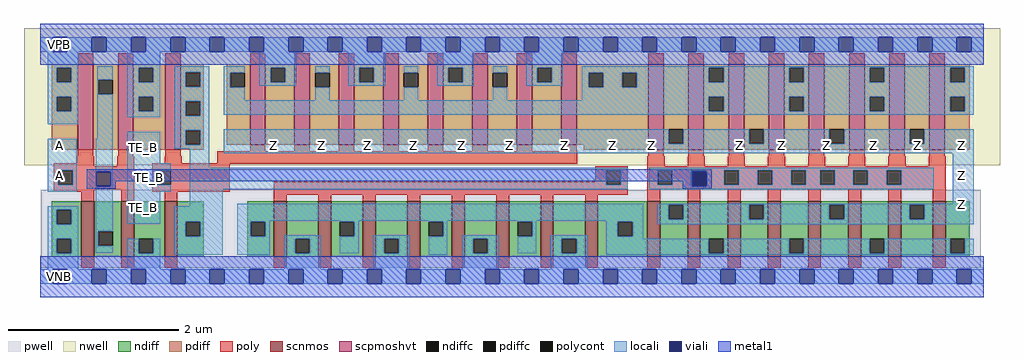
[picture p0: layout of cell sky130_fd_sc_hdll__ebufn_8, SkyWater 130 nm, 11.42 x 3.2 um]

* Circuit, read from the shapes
.subckt sky130_fd_sc_hdll__ebufn_8 A TE_B VGND VNB VPB VPWR Z
XM1 n1 A VGND VNB sky130_fd_pr__nfet_01v8 w=0.65 l=0.15 m=2
XM2 n2 TE_B VGND VNB sky130_fd_pr__nfet_01v8 w=0.65 l=0.15
XM3 VGND n2 n3 VNB sky130_fd_pr__nfet_01v8 w=0.65 l=0.15 m=8
XM4 Z n1 n3 VNB sky130_fd_pr__nfet_01v8 w=0.65 l=0.15 m=8
XM5 n1 A VPWR VPB sky130_fd_pr__pfet_01v8_hvt w=1 l=0.18 m=2
XM6 n2 TE_B VPWR VPB sky130_fd_pr__pfet_01v8_hvt w=1 l=0.18
XM7 VPWR TE_B n4 VPB sky130_fd_pr__pfet_01v8_hvt w=0.94 l=0.18 m=8
XM8 Z n1 n4 VPB sky130_fd_pr__pfet_01v8_hvt w=1 l=0.18 m=8
.ends

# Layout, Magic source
magic
tech sky130A
magscale 1 2
<< nwell >>
rect -38 261 2246 582
<< pwell >>
rect 1 21 2201 203
rect 29 -17 63 21
<< scnmos >>
rect 96 47 126 177
rect 190 47 220 177
rect 291 47 321 177
rect 547 47 577 177
rect 651 47 681 177
rect 755 47 785 177
rect 859 47 889 177
rect 963 47 993 177
rect 1067 47 1097 177
rect 1171 47 1201 177
rect 1275 47 1305 177
rect 1421 47 1451 177
rect 1515 47 1545 177
rect 1609 47 1639 177
rect 1703 47 1733 177
rect 1797 47 1827 177
rect 1891 47 1921 177
rect 1985 47 2015 177
rect 2089 47 2119 177
<< scpmoshvt >>
rect 88 297 124 497
rect 182 297 218 497
rect 293 297 329 497
rect 491 309 527 497
rect 595 309 631 497
rect 699 309 735 497
rect 803 309 839 497
rect 907 309 943 497
rect 1011 309 1047 497
rect 1115 309 1151 497
rect 1219 309 1255 497
rect 1423 297 1459 497
rect 1517 297 1553 497
rect 1611 297 1647 497
rect 1705 297 1741 497
rect 1799 297 1835 497
rect 1893 297 1929 497
rect 1987 297 2023 497
rect 2081 297 2117 497
<< ndiff >>
rect 27 157 96 177
rect 27 123 39 157
rect 73 123 96 157
rect 27 89 96 123
rect 27 55 39 89
rect 73 55 96 89
rect 27 47 96 55
rect 126 106 190 177
rect 126 72 136 106
rect 170 72 190 106
rect 126 47 190 72
rect 220 89 291 177
rect 220 55 230 89
rect 264 55 291 89
rect 220 47 291 55
rect 321 129 383 177
rect 321 95 341 129
rect 375 95 383 129
rect 321 47 383 95
rect 485 129 547 177
rect 485 95 493 129
rect 527 95 547 129
rect 485 47 547 95
rect 577 89 651 177
rect 577 55 597 89
rect 631 55 651 89
rect 577 47 651 55
rect 681 129 755 177
rect 681 95 701 129
rect 735 95 755 129
rect 681 47 755 95
rect 785 89 859 177
rect 785 55 805 89
rect 839 55 859 89
rect 785 47 859 55
rect 889 129 963 177
rect 889 95 909 129
rect 943 95 963 129
rect 889 47 963 95
rect 993 89 1067 177
rect 993 55 1013 89
rect 1047 55 1067 89
rect 993 47 1067 55
rect 1097 129 1171 177
rect 1097 95 1117 129
rect 1151 95 1171 129
rect 1097 47 1171 95
rect 1201 89 1275 177
rect 1201 55 1221 89
rect 1255 55 1275 89
rect 1201 47 1275 55
rect 1305 129 1421 177
rect 1305 95 1352 129
rect 1386 95 1421 129
rect 1305 47 1421 95
rect 1451 169 1515 177
rect 1451 135 1471 169
rect 1505 135 1515 169
rect 1451 47 1515 135
rect 1545 89 1609 177
rect 1545 55 1565 89
rect 1599 55 1609 89
rect 1545 47 1609 55
rect 1639 169 1703 177
rect 1639 135 1659 169
rect 1693 135 1703 169
rect 1639 47 1703 135
rect 1733 89 1797 177
rect 1733 55 1753 89
rect 1787 55 1797 89
rect 1733 47 1797 55
rect 1827 169 1891 177
rect 1827 135 1847 169
rect 1881 135 1891 169
rect 1827 47 1891 135
rect 1921 89 1985 177
rect 1921 55 1941 89
rect 1975 55 1985 89
rect 1921 47 1985 55
rect 2015 169 2089 177
rect 2015 135 2035 169
rect 2069 135 2089 169
rect 2015 47 2089 135
rect 2119 89 2175 177
rect 2119 55 2129 89
rect 2163 55 2175 89
rect 2119 47 2175 55
<< pdiff >>
rect 27 489 88 497
rect 27 455 39 489
rect 73 455 88 489
rect 27 421 88 455
rect 27 387 39 421
rect 73 387 88 421
rect 27 297 88 387
rect 124 461 182 497
rect 124 427 136 461
rect 170 427 182 461
rect 124 297 182 427
rect 218 489 293 497
rect 218 455 230 489
rect 264 455 293 489
rect 218 421 293 455
rect 218 387 230 421
rect 264 387 293 421
rect 218 297 293 387
rect 329 479 383 497
rect 329 445 341 479
rect 375 445 383 479
rect 329 411 383 445
rect 329 377 341 411
rect 375 377 383 411
rect 329 343 383 377
rect 329 309 341 343
rect 375 309 383 343
rect 437 477 491 497
rect 437 443 445 477
rect 479 443 491 477
rect 437 309 491 443
rect 527 489 595 497
rect 527 455 539 489
rect 573 455 595 489
rect 527 309 595 455
rect 631 477 699 497
rect 631 443 643 477
rect 677 443 699 477
rect 631 309 699 443
rect 735 489 803 497
rect 735 455 747 489
rect 781 455 803 489
rect 735 309 803 455
rect 839 477 907 497
rect 839 443 851 477
rect 885 443 907 477
rect 839 309 907 443
rect 943 489 1011 497
rect 943 455 955 489
rect 989 455 1011 489
rect 943 309 1011 455
rect 1047 477 1115 497
rect 1047 443 1059 477
rect 1093 443 1115 477
rect 1047 309 1115 443
rect 1151 489 1219 497
rect 1151 455 1163 489
rect 1197 455 1219 489
rect 1151 309 1219 455
rect 1255 477 1423 497
rect 1255 443 1284 477
rect 1318 443 1362 477
rect 1396 443 1423 477
rect 1255 309 1423 443
rect 329 297 383 309
rect 1272 297 1423 309
rect 1459 345 1517 497
rect 1459 311 1471 345
rect 1505 311 1517 345
rect 1459 297 1517 311
rect 1553 489 1611 497
rect 1553 455 1565 489
rect 1599 455 1611 489
rect 1553 421 1611 455
rect 1553 387 1565 421
rect 1599 387 1611 421
rect 1553 297 1611 387
rect 1647 345 1705 497
rect 1647 311 1659 345
rect 1693 311 1705 345
rect 1647 297 1705 311
rect 1741 489 1799 497
rect 1741 455 1753 489
rect 1787 455 1799 489
rect 1741 421 1799 455
rect 1741 387 1753 421
rect 1787 387 1799 421
rect 1741 297 1799 387
rect 1835 345 1893 497
rect 1835 311 1847 345
rect 1881 311 1893 345
rect 1835 297 1893 311
rect 1929 489 1987 497
rect 1929 455 1941 489
rect 1975 455 1987 489
rect 1929 421 1987 455
rect 1929 387 1941 421
rect 1975 387 1987 421
rect 1929 297 1987 387
rect 2023 345 2081 497
rect 2023 311 2035 345
rect 2069 311 2081 345
rect 2023 297 2081 311
rect 2117 489 2175 497
rect 2117 455 2129 489
rect 2163 455 2175 489
rect 2117 421 2175 455
rect 2117 387 2129 421
rect 2163 387 2175 421
rect 2117 297 2175 387
<< ndiffc >>
rect 39 123 73 157
rect 39 55 73 89
rect 136 72 170 106
rect 230 55 264 89
rect 341 95 375 129
rect 493 95 527 129
rect 597 55 631 89
rect 701 95 735 129
rect 805 55 839 89
rect 909 95 943 129
rect 1013 55 1047 89
rect 1117 95 1151 129
rect 1221 55 1255 89
rect 1352 95 1386 129
rect 1471 135 1505 169
rect 1565 55 1599 89
rect 1659 135 1693 169
rect 1753 55 1787 89
rect 1847 135 1881 169
rect 1941 55 1975 89
rect 2035 135 2069 169
rect 2129 55 2163 89
<< pdiffc >>
rect 39 455 73 489
rect 39 387 73 421
rect 136 427 170 461
rect 230 455 264 489
rect 230 387 264 421
rect 341 445 375 479
rect 341 377 375 411
rect 341 309 375 343
rect 445 443 479 477
rect 539 455 573 489
rect 643 443 677 477
rect 747 455 781 489
rect 851 443 885 477
rect 955 455 989 489
rect 1059 443 1093 477
rect 1163 455 1197 489
rect 1284 443 1318 477
rect 1362 443 1396 477
rect 1471 311 1505 345
rect 1565 455 1599 489
rect 1565 387 1599 421
rect 1659 311 1693 345
rect 1753 455 1787 489
rect 1753 387 1787 421
rect 1847 311 1881 345
rect 1941 455 1975 489
rect 1941 387 1975 421
rect 2035 311 2069 345
rect 2129 455 2163 489
rect 2129 387 2163 421
<< poly >>
rect 88 497 124 523
rect 182 497 218 523
rect 293 497 329 523
rect 491 497 527 523
rect 595 497 631 523
rect 699 497 735 523
rect 803 497 839 523
rect 907 497 943 523
rect 1011 497 1047 523
rect 1115 497 1151 523
rect 1219 497 1255 523
rect 1423 497 1459 523
rect 1517 497 1553 523
rect 1611 497 1647 523
rect 1705 497 1741 523
rect 1799 497 1835 523
rect 1893 497 1929 523
rect 1987 497 2023 523
rect 2081 497 2117 523
rect 88 282 124 297
rect 182 282 218 297
rect 293 282 329 297
rect 491 294 527 309
rect 595 294 631 309
rect 699 294 735 309
rect 803 294 839 309
rect 907 294 943 309
rect 1011 294 1047 309
rect 1115 294 1151 309
rect 1219 294 1255 309
rect 86 265 126 282
rect 32 259 126 265
rect 180 259 220 282
rect 291 265 331 282
rect 414 265 1257 294
rect 1423 282 1459 297
rect 1517 282 1553 297
rect 1611 282 1647 297
rect 1705 282 1741 297
rect 1799 282 1835 297
rect 1893 282 1929 297
rect 1987 282 2023 297
rect 2081 282 2117 297
rect 32 249 220 259
rect 32 215 42 249
rect 76 215 220 249
rect 32 205 220 215
rect 32 199 126 205
rect 96 177 126 199
rect 190 177 220 205
rect 262 264 1257 265
rect 262 249 444 264
rect 1421 259 1461 282
rect 1515 259 1555 282
rect 1609 259 1649 282
rect 1703 259 1743 282
rect 1797 259 1837 282
rect 1891 259 1931 282
rect 1985 259 2025 282
rect 2079 259 2119 282
rect 262 215 272 249
rect 306 215 444 249
rect 1299 249 1375 259
rect 1299 222 1325 249
rect 262 199 444 215
rect 547 215 1325 222
rect 1359 215 1375 249
rect 291 177 321 199
rect 547 192 1375 215
rect 1421 249 2119 259
rect 1421 215 1445 249
rect 1479 215 1523 249
rect 1557 215 1601 249
rect 1635 215 1679 249
rect 1713 215 1757 249
rect 1791 215 1825 249
rect 1859 215 1903 249
rect 1937 215 1981 249
rect 2015 215 2119 249
rect 1421 205 2119 215
rect 547 177 577 192
rect 651 177 681 192
rect 755 177 785 192
rect 859 177 889 192
rect 963 177 993 192
rect 1067 177 1097 192
rect 1171 177 1201 192
rect 1275 177 1305 192
rect 1421 177 1451 205
rect 1515 177 1545 205
rect 1609 177 1639 205
rect 1703 177 1733 205
rect 1797 177 1827 205
rect 1891 177 1921 205
rect 1985 177 2015 205
rect 2089 177 2119 205
rect 96 21 126 47
rect 190 21 220 47
rect 291 21 321 47
rect 547 21 577 47
rect 651 21 681 47
rect 755 21 785 47
rect 859 21 889 47
rect 963 21 993 47
rect 1067 21 1097 47
rect 1171 21 1201 47
rect 1275 21 1305 47
rect 1421 21 1451 47
rect 1515 21 1545 47
rect 1609 21 1639 47
rect 1703 21 1733 47
rect 1797 21 1827 47
rect 1891 21 1921 47
rect 1985 21 2015 47
rect 2089 21 2119 47
<< polycont >>
rect 42 215 76 249
rect 272 215 306 249
rect 1325 215 1359 249
rect 1445 215 1479 249
rect 1523 215 1557 249
rect 1601 215 1635 249
rect 1679 215 1713 249
rect 1757 215 1791 249
rect 1825 215 1859 249
rect 1903 215 1937 249
rect 1981 215 2015 249
<< locali >>
rect 0 527 29 561
rect 63 527 121 561
rect 155 527 213 561
rect 247 527 305 561
rect 339 527 397 561
rect 431 527 489 561
rect 523 527 581 561
rect 615 527 673 561
rect 707 527 765 561
rect 799 527 857 561
rect 891 527 949 561
rect 983 527 1041 561
rect 1075 527 1133 561
rect 1167 527 1225 561
rect 1259 527 1317 561
rect 1351 527 1409 561
rect 1443 527 1501 561
rect 1535 527 1593 561
rect 1627 527 1685 561
rect 1719 527 1777 561
rect 1811 527 1869 561
rect 1903 527 1961 561
rect 1995 527 2053 561
rect 2087 527 2145 561
rect 2179 527 2208 561
rect 17 489 89 527
rect 17 455 39 489
rect 73 455 89 489
rect 17 421 89 455
rect 17 387 39 421
rect 73 387 89 421
rect 17 357 89 387
rect 133 461 170 493
rect 133 427 136 461
rect 133 323 170 427
rect 204 489 281 527
rect 204 455 230 489
rect 264 455 281 489
rect 204 421 281 455
rect 204 387 230 421
rect 264 387 281 421
rect 204 373 281 387
rect 315 479 395 493
rect 315 445 341 479
rect 375 445 395 479
rect 315 411 395 445
rect 315 377 341 411
rect 375 377 395 411
rect 429 477 479 493
rect 429 443 445 477
rect 513 489 599 527
rect 513 455 539 489
rect 573 455 599 489
rect 513 447 599 455
rect 643 477 677 493
rect 429 413 479 443
rect 721 489 807 527
rect 721 455 747 489
rect 781 455 807 489
rect 721 447 807 455
rect 851 477 885 493
rect 643 413 677 443
rect 929 489 1015 527
rect 929 455 955 489
rect 989 455 1015 489
rect 929 447 1015 455
rect 1059 477 1093 493
rect 851 413 885 443
rect 1137 489 1223 527
rect 1137 455 1163 489
rect 1197 455 1223 489
rect 1137 447 1223 455
rect 1267 489 2185 493
rect 1267 477 1565 489
rect 1059 413 1093 443
rect 1267 443 1284 477
rect 1318 443 1362 477
rect 1396 455 1565 477
rect 1599 455 1753 489
rect 1787 455 1941 489
rect 1975 455 2129 489
rect 2163 455 2185 489
rect 1396 443 2185 455
rect 1267 421 2185 443
rect 1267 413 1565 421
rect 429 387 1565 413
rect 1599 387 1753 421
rect 1787 387 1941 421
rect 1975 387 2129 421
rect 2163 387 2185 421
rect 429 379 2185 387
rect 315 343 395 377
rect 17 249 86 323
rect 17 215 42 249
rect 76 215 86 249
rect 17 199 86 215
rect 130 246 170 323
rect 130 212 131 246
rect 165 212 170 246
rect 17 157 89 165
rect 17 123 39 157
rect 73 123 89 157
rect 17 89 89 123
rect 17 55 39 89
rect 73 55 89 89
rect 130 106 170 212
rect 204 265 281 339
rect 315 309 341 343
rect 375 309 395 343
rect 315 299 395 309
rect 204 249 306 265
rect 204 215 272 249
rect 204 199 306 215
rect 350 255 395 299
rect 429 311 1471 345
rect 1505 311 1659 345
rect 1693 311 1847 345
rect 1881 311 2035 345
rect 2069 311 2185 345
rect 429 289 2185 311
rect 350 249 1375 255
rect 350 215 1325 249
rect 1359 215 1375 249
rect 350 205 1375 215
rect 1425 249 2091 255
rect 1425 215 1445 249
rect 1479 215 1523 249
rect 1557 246 1601 249
rect 1560 215 1601 246
rect 1635 215 1679 249
rect 1713 215 1757 249
rect 1791 215 1825 249
rect 1859 215 1903 249
rect 1937 215 1981 249
rect 2015 215 2091 249
rect 1425 212 1526 215
rect 1560 212 2091 215
rect 1425 205 2091 212
rect 204 124 281 199
rect 350 165 427 205
rect 2135 171 2185 289
rect 315 129 427 165
rect 130 72 136 106
rect 315 95 341 129
rect 375 95 427 129
rect 130 56 170 72
rect 17 17 89 55
rect 204 55 230 89
rect 264 55 281 89
rect 204 17 281 55
rect 315 51 427 95
rect 461 131 1411 171
rect 461 129 537 131
rect 461 95 493 129
rect 527 95 537 129
rect 701 129 745 131
rect 461 51 537 95
rect 571 89 657 97
rect 571 55 597 89
rect 631 55 657 89
rect 735 95 745 129
rect 909 129 953 131
rect 701 55 745 95
rect 779 89 865 97
rect 779 55 805 89
rect 839 55 865 89
rect 571 17 657 55
rect 779 17 865 55
rect 943 95 953 129
rect 1117 129 1161 131
rect 909 51 953 95
rect 987 89 1073 97
rect 987 55 1013 89
rect 1047 55 1073 89
rect 1151 95 1161 129
rect 1325 129 1411 131
rect 1117 55 1161 95
rect 1195 89 1281 97
rect 1195 55 1221 89
rect 1255 55 1281 89
rect 987 17 1073 55
rect 1195 17 1281 55
rect 1325 95 1352 129
rect 1386 95 1411 129
rect 1445 169 2185 171
rect 1445 135 1471 169
rect 1505 135 1659 169
rect 1693 135 1847 169
rect 1881 135 2035 169
rect 2069 135 2185 169
rect 1445 123 2185 135
rect 1325 89 1411 95
rect 1325 55 1565 89
rect 1599 55 1753 89
rect 1787 55 1941 89
rect 1975 55 2129 89
rect 2163 55 2185 89
rect 1325 51 2185 55
rect 0 -17 29 17
rect 63 -17 121 17
rect 155 -17 213 17
rect 247 -17 305 17
rect 339 -17 397 17
rect 431 -17 489 17
rect 523 -17 581 17
rect 615 -17 673 17
rect 707 -17 765 17
rect 799 -17 857 17
rect 891 -17 949 17
rect 983 -17 1041 17
rect 1075 -17 1133 17
rect 1167 -17 1225 17
rect 1259 -17 1317 17
rect 1351 -17 1409 17
rect 1443 -17 1501 17
rect 1535 -17 1593 17
rect 1627 -17 1685 17
rect 1719 -17 1777 17
rect 1811 -17 1869 17
rect 1903 -17 1961 17
rect 1995 -17 2053 17
rect 2087 -17 2145 17
rect 2179 -17 2208 17
<< viali >>
rect 29 527 63 561
rect 121 527 155 561
rect 213 527 247 561
rect 305 527 339 561
rect 397 527 431 561
rect 489 527 523 561
rect 581 527 615 561
rect 673 527 707 561
rect 765 527 799 561
rect 857 527 891 561
rect 949 527 983 561
rect 1041 527 1075 561
rect 1133 527 1167 561
rect 1225 527 1259 561
rect 1317 527 1351 561
rect 1409 527 1443 561
rect 1501 527 1535 561
rect 1593 527 1627 561
rect 1685 527 1719 561
rect 1777 527 1811 561
rect 1869 527 1903 561
rect 1961 527 1995 561
rect 2053 527 2087 561
rect 2145 527 2179 561
rect 131 212 165 246
rect 1526 215 1557 246
rect 1557 215 1560 246
rect 1526 212 1560 215
rect 29 -17 63 17
rect 121 -17 155 17
rect 213 -17 247 17
rect 305 -17 339 17
rect 397 -17 431 17
rect 489 -17 523 17
rect 581 -17 615 17
rect 673 -17 707 17
rect 765 -17 799 17
rect 857 -17 891 17
rect 949 -17 983 17
rect 1041 -17 1075 17
rect 1133 -17 1167 17
rect 1225 -17 1259 17
rect 1317 -17 1351 17
rect 1409 -17 1443 17
rect 1501 -17 1535 17
rect 1593 -17 1627 17
rect 1685 -17 1719 17
rect 1777 -17 1811 17
rect 1869 -17 1903 17
rect 1961 -17 1995 17
rect 2053 -17 2087 17
rect 2145 -17 2179 17
<< metal1 >>
rect 0 561 2208 592
rect 0 527 29 561
rect 63 527 121 561
rect 155 527 213 561
rect 247 527 305 561
rect 339 527 397 561
rect 431 527 489 561
rect 523 527 581 561
rect 615 527 673 561
rect 707 527 765 561
rect 799 527 857 561
rect 891 527 949 561
rect 983 527 1041 561
rect 1075 527 1133 561
rect 1167 527 1225 561
rect 1259 527 1317 561
rect 1351 527 1409 561
rect 1443 527 1501 561
rect 1535 527 1593 561
rect 1627 527 1685 561
rect 1719 527 1777 561
rect 1811 527 1869 561
rect 1903 527 1961 561
rect 1995 527 2053 561
rect 2087 527 2145 561
rect 2179 527 2208 561
rect 0 496 2208 527
rect 109 246 1572 252
rect 109 212 131 246
rect 165 224 1526 246
rect 165 212 177 224
rect 109 206 177 212
rect 1504 212 1526 224
rect 1560 212 1572 246
rect 1504 206 1572 212
rect 0 17 2208 48
rect 0 -17 29 17
rect 63 -17 121 17
rect 155 -17 213 17
rect 247 -17 305 17
rect 339 -17 397 17
rect 431 -17 489 17
rect 523 -17 581 17
rect 615 -17 673 17
rect 707 -17 765 17
rect 799 -17 857 17
rect 891 -17 949 17
rect 983 -17 1041 17
rect 1075 -17 1133 17
rect 1167 -17 1225 17
rect 1259 -17 1317 17
rect 1351 -17 1409 17
rect 1443 -17 1501 17
rect 1535 -17 1593 17
rect 1627 -17 1685 17
rect 1719 -17 1777 17
rect 1811 -17 1869 17
rect 1903 -17 1961 17
rect 1995 -17 2053 17
rect 2087 -17 2145 17
rect 2179 -17 2208 17
rect 0 -48 2208 -17
<< labels >>
flabel locali s 29 221 63 255 0 FreeSans 200 0 0 0 A
port 1 nsew signal input
flabel locali s 29 289 63 323 0 FreeSans 200 0 0 0 A
port 1 nsew signal input
flabel locali s 2138 153 2172 187 0 FreeSans 200 0 0 0 Z
port 7 nsew signal output
flabel locali s 2138 221 2172 255 0 FreeSans 200 0 0 0 Z
port 7 nsew signal output
flabel locali s 857 289 891 323 0 FreeSans 200 0 0 0 Z
port 7 nsew signal output
flabel locali s 969 289 1003 323 0 FreeSans 200 0 0 0 Z
port 7 nsew signal output
flabel locali s 1080 289 1114 323 0 FreeSans 200 0 0 0 Z
port 7 nsew signal output
flabel locali s 1211 289 1245 323 0 FreeSans 200 0 0 0 Z
port 7 nsew signal output
flabel locali s 529 289 563 323 0 FreeSans 200 0 0 0 Z
port 7 nsew signal output
flabel locali s 641 289 675 323 0 FreeSans 200 0 0 0 Z
port 7 nsew signal output
flabel locali s 750 289 784 323 0 FreeSans 200 0 0 0 Z
port 7 nsew signal output
flabel locali s 204 265 281 339 0 FreeSans 200 0 0 0 TE_B
port 2 nsew signal input
flabel locali s 1323 289 1357 323 0 FreeSans 200 0 0 0 Z
port 7 nsew signal output
flabel locali s 1414 289 1448 323 0 FreeSans 200 0 0 0 Z
port 7 nsew signal output
flabel locali s 230 306 230 306 0 FreeSans 200 0 0 0 TE_B
port 2 nsew
flabel locali s 2138 289 2172 323 0 FreeSans 200 0 0 0 Z
port 7 nsew signal output
flabel locali s 2036 289 2070 323 0 FreeSans 200 0 0 0 Z
port 7 nsew signal output
flabel locali s 1620 289 1654 323 0 FreeSans 200 0 0 0 Z
port 7 nsew signal output
flabel locali s 1934 289 1968 323 0 FreeSans 200 0 0 0 Z
port 7 nsew signal output
flabel locali s 1824 289 1858 323 0 FreeSans 200 0 0 0 Z
port 7 nsew signal output
flabel locali s 1717 289 1751 323 0 FreeSans 200 0 0 0 Z
port 7 nsew signal output
flabel pwell s 29 -17 63 17 0 FreeSans 200 0 0 0 VNB
port 4 nsew ground bidirectional
flabel nwell s 29 527 63 561 0 FreeSans 200 0 0 0 VPB
port 5 nsew power bidirectional
flabel metal1 s 29 -17 63 17 0 FreeSans 200 0 0 0 VGND
port 3 nsew ground bidirectional
flabel metal1 s 29 527 63 561 0 FreeSans 200 0 0 0 VPWR
port 6 nsew power bidirectional
rlabel comment s 0 0 0 0 4 ebufn_8
rlabel locali s 204 199 306 265 1 TE_B
port 2 nsew signal input
rlabel locali s 204 124 281 199 1 TE_B
port 2 nsew signal input
<< properties >>
string LEFsite unithd
string LEFclass CORE
string FIXED_BBOX 0 0 2208 544
string GDS_FILE $PDKPATH/libs.ref/sky130_fd_sc_hdll/gds/sky130_fd_sc_hdll.gds
string LEFsymmetry X Y R90
string GDS_END 1540576
string GDS_START 1525960
string LEFproperties maskLayoutSubType "abstract" prCellType "standard" originalViewName "layout"
<< end >>
